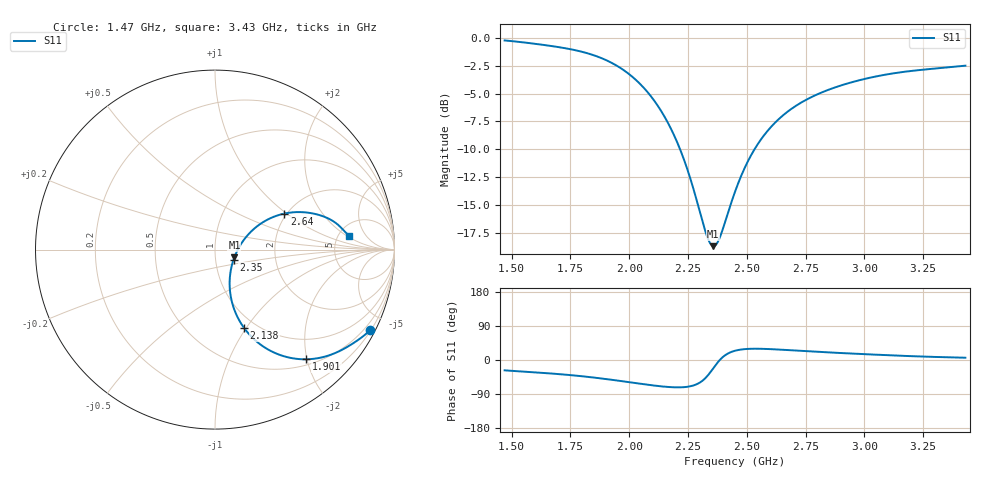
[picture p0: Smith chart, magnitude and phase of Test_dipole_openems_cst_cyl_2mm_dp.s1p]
! TOUCHSTONE file generated by CST MICROWAVE STUDIO
! Date and time: Sat Oct 17 22:58:39 2026
! Project name: Test_dipole_openems_cst_cyl_2mm_dp.cst
! Parameters = {c0=299.792; dipole_length=56; feed_gap=2; frequency_centre=2.45; frequency_maximum=3.43; frequency_minimum=1.47; wavelength_centre=122.364; wire_diameter=2}
! Header version: 2018
! Port assignment regex: !\s*Touchstone port\s*([0-9]+)\s*=\s*(CST MWS port|CST DS port)\s*([0-9]+|Zmin|Zmax)\s*\(\"(.*)\"\)(\s*mode\s*([0-9]+))?.*
! Touchstone port assignment:
! Touchstone port 1 = CST MWS port 2 ("")
# GHz S MA R 50
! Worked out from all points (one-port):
!   1001 points, 1.47 GHz to 3.43 GHz, reference 50 ohm
!   lowest |S11| = -18.7 dB at 2.358 GHz (marker M1), VSWR 1.26, Z = 61.8 - j5.36 ohm
!   |S11| at or under -10 dB: 2.216 GHz to 2.533 GHz (316.8 MHz wide, 13.3 % of centre)
!   S11 on the Smith chart (normalised r, x): 1.47 GHz: 0.24, -4.11; 1.901 GHz: 0.60, -1.99; 2.138 GHz: 0.88, -0.98; 2.35 GHz: 1.22, -0.14; 2.64 GHz: 1.95, +0.96; 3.43 GHz: 6.20, +2.22
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1.47  0.9739 -27.3
1.60132  0.9403 -32.7
1.715  0.9037 -37.9
1.80908  0.8608 -43.5
1.9012  0.7951 -50.2
1.96  0.7359 -55.1
2.0482  0.6183 -62.7
2.09524  0.542 -66.6
2.13836  0.465 -69.7
2.205  0.338 -72.2
2.24028  0.2702 -71.2
2.27556  0.2059 -66.7
2.32456  0.1348 -47.4
2.35004  0.1173 -28.3
2.35788  0.1161 -21.6
2.3716  0.1188 -10.1
2.38532  0.127 0.0
2.45  0.2037 24.4
2.49116  0.2607 28.7
2.53428  0.3177 29.8
2.58328  0.3765 29.2
2.64012  0.4357 27.4
2.695  0.4842 25.4
2.8028  0.5595 21.5
2.94  0.6294 17.2
3.06348  0.6758 13.6
3.185  0.7077 10.5
3.43  0.7504 6.0
